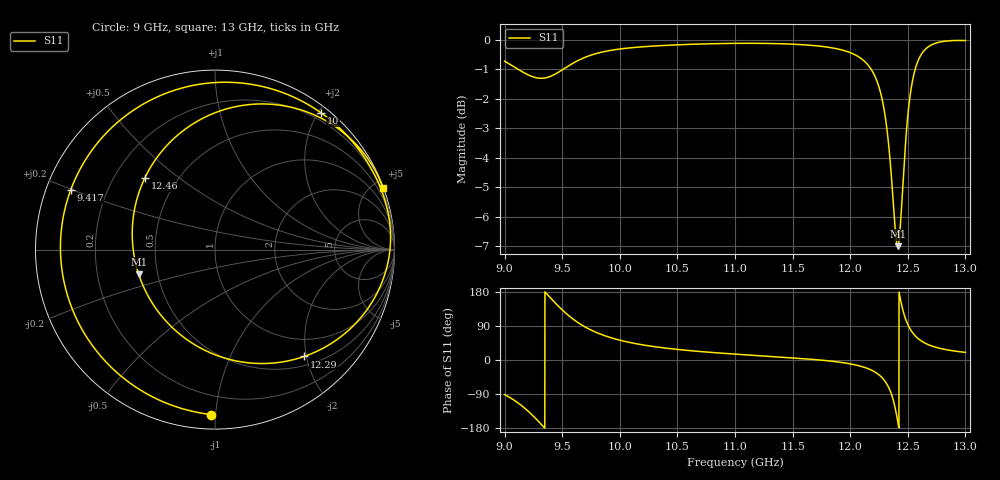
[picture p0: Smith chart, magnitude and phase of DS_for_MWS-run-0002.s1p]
! TOUCHSTONE file generated by CST DESIGN STUDIO
! Date and time: Wed Feb  5 13:21:43 2025
! Project name: C:\Work\MatlabApps\UnitCellOptimizationMatlab\CST\unitcell.cst
! Tree item: Tasks\Sweep1\SPara1\S-Parameters
! Header version: 2024
! Port assignment regex: !\s*Touchstone port\s*([0-9]+)\s*=\s*(CST MWS port|CST DES external port|CST DES block port)\s*(.+)\s* \(\"(.*)\"\)(\s*mode\s*([0-9]+))?.*
! Touchstone port assignment:
! Touchstone port 1 = CST DES external port 1 ("")
# GHz S MA R 50
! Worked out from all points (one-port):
!   4001 points, 9 GHz to 13 GHz, reference 50 ohm
!   lowest |S11| = -7.0 dB at 12.41 GHz (marker M1), VSWR 2.61, Z = 19.5 - j6.66 ohm
!   |S11| at or under -10 dB: nowhere
!   S11 on the Smith chart (normalised r, x): 9 GHz: 0.08, -0.97; 9.417 GHz: 0.07, +0.20; 10 GHz: 0.09, +2.04; 12.29 GHz: 0.66, -1.96; 12.46 GHz: 0.33, +0.38; 13 GHz: 0.06, +5.62
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9  0.9195 -91.3
9.107  0.8932 -111.2
9.199  0.8726 -133.6
9.316  0.8601 -169.0
9.417  0.8699 157.7
9.5  0.8888 132.2
9.585  0.9101 110.1
9.68  0.9302 90.5
9.829  0.951 68.6
10  0.9641 52.3
10.003  0.9643 52.1
10.5  0.9801 27.9
11  0.9857 15.6
11.5  0.9825 5.7
12  0.9507 -10.2
12.181  0.8913 -26.2
12.287  0.7754 -50.2
12.358  0.5852 -90.1
12.385  0.4938 -119.3
12.413  0.4467 -162.2
12.434  0.4799 163.2
12.455  0.5592 134.3
12.5  0.7431 93.7
12.531  0.8308 76.6
12.573  0.9028 61.1
12.66  0.9662 42.9
12.79  0.9918 29.9
13  0.9966 20.2
